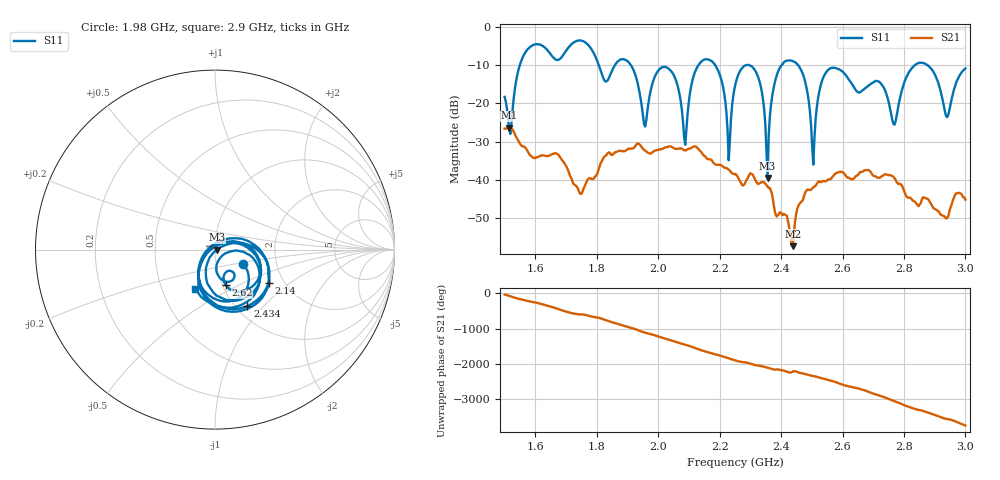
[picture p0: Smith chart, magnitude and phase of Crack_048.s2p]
# HZ S RI R 50
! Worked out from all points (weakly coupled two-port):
!   404 points, 1.5 GHz to 3 GHz, reference 50 ohm
!   highest |S21| = -26.39 dB at 1.515 GHz (marker M1); lowest = -57.4 dB at 2.438 GHz (marker M2)
!   lowest |S11| = -39.6 dB at 2.356 GHz (marker M3), VSWR 1.02, Z = 51.1 - j0.0219 ohm
!   |S11| at or under -10 dB: 1.911 GHz to 2.131 GHz (219.5 MHz wide, 10.9 % of centre); 2.456 GHz to 2.835 GHz (379.4 MHz wide, 14.3 % of centre); 2.877 GHz to end of sweep (the widest 3 of 7)
!   S12 and S22 are empty: the file has one direction only
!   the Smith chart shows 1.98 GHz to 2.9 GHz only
!   S11 on the Smith chart (normalised r, x): 1.98 GHz: 1.35, -0.22; 2.14 GHz: 1.68, -0.70; 2.434 GHz: 1.13, -0.82; 2.62 GHz: 1.04, -0.43; 2.9 GHz: 0.74, -0.34
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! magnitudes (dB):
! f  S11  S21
! 1.5 GHz  -18.3  -26.6
! 1.515 GHz  -26.7  -26.4
! 1.574 GHz  -5.8  -32.5
! 1.753 GHz  -3.6  -43.2
! 1.954 GHz  -25.5  -32.2
! 1.98 GHz  -15.1  -32.8
! 2.002 GHz  -11.2  -32.1
! 2.088 GHz  -30.8  -32.3
! 2.14 GHz  -9.1  -32.8
! 2.23 GHz  -34.9  -37.4
! 2.252 GHz  -14.8  -38.5
! 2.315 GHz  -11.3  -39.9
! 2.356 GHz  -39.6  -41.7
! 2.434 GHz  -8.8  -57.1
! 2.438 GHz  -8.9  -57.4
! 2.501 GHz  -31.4  -42.3
! 2.546 GHz  -11.9  -40.4
! 2.62 GHz  -13.7  -39.5
! 2.751 GHz  -19.8  -38.8
! 2.9 GHz  -12.3  -47.7
! 2.94 GHz  -23.6  -50.1
! 3 GHz  -10.8  -45.2
